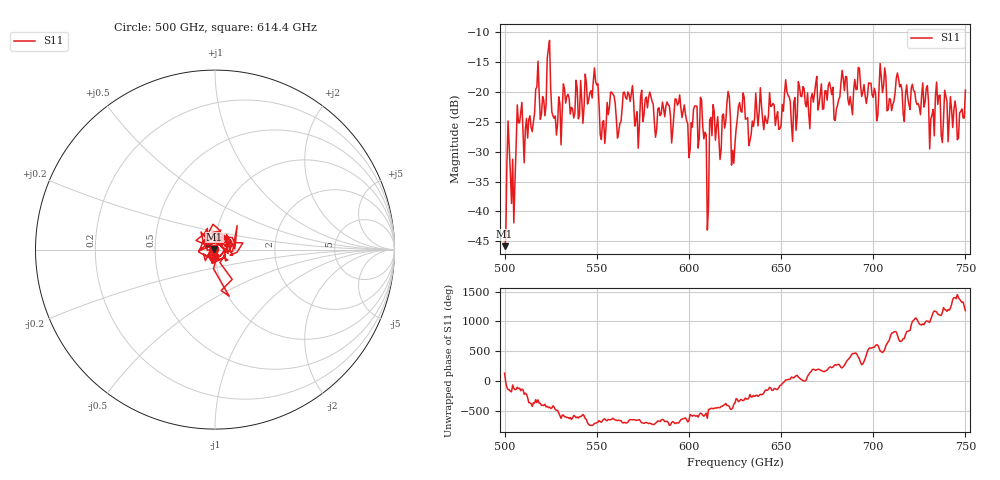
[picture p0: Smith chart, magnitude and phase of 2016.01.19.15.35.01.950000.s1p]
!Created with skrf (http://scikit-rf.org).
# GHz S RI R 50.0
!freq ReS11 ImS11
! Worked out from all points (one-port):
!   401 points, 500 GHz to 750 GHz, reference 50 ohm
!   lowest |S11| = -45.8 dB at 500 GHz (marker M1), VSWR 1.01, Z = 49.6 + j0.367 ohm
!   |S11| at or under -10 dB: start of sweep to end of sweep
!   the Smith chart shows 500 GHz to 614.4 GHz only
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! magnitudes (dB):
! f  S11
! 500 GHz  -45.8
! 501.9 GHz  -24.8
! 505 GHz  -41.9
! 508.1 GHz  -25.1
! 511.2 GHz  -26.2
! 523.8 GHz  -12.7
! 526.9 GHz  -24.4
! 531.2 GHz  -23.2
! 549.4 GHz  -18.2
! 553.1 GHz  -25.0
! 558.8 GHz  -20.4
! 562.5 GHz  -25.3
! 565.6 GHz  -20.9
! 571.9 GHz  -23.3
! 593.8 GHz  -22.2
! 600.6 GHz  -29.7
! 607.5 GHz  -25.8
! 609.4 GHz  -27.2
! 612.5 GHz  -27.3
! 621.2 GHz  -19.9
! 625 GHz  -28.6
! 628.8 GHz  -23.4
! 633.8 GHz  -27.1
! 656.2 GHz  -28.3
! 684.4 GHz  -19.8
! 687.5 GHz  -20.7
! 718.8 GHz  -20.9
! 750 GHz  -19.7
